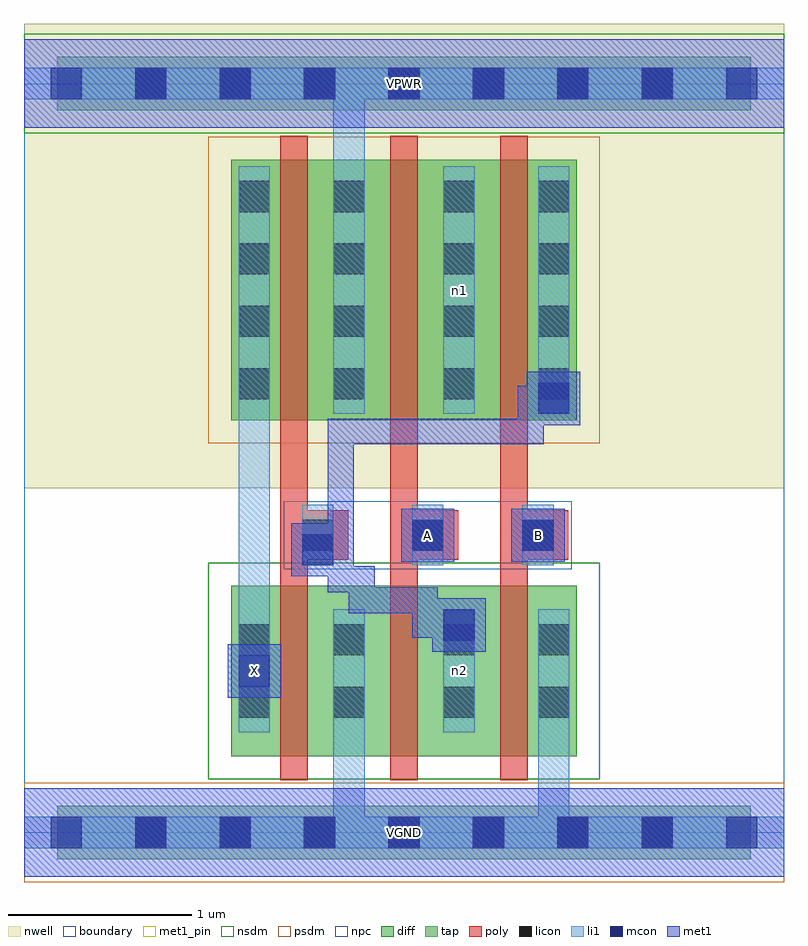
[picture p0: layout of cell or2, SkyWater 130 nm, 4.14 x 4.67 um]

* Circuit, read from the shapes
.subckt or2 A B VGND VPWR X n1 n2
XM1 VGND n2 X VGND sky130_fd_pr__nfet_01v8 w=0.93 l=0.15
XM2 n2 A VGND VGND sky130_fd_pr__nfet_01v8 w=0.93 l=0.15
XM3 VGND B n2 VGND sky130_fd_pr__nfet_01v8 w=0.93 l=0.15
XM4 VPWR n2 X VPWR sky130_fd_pr__pfet_01v8 w=1.42 l=0.15
XM5 n1 A VPWR VPWR sky130_fd_pr__pfet_01v8 w=1.42 l=0.15
XM6 n2 B n1 VPWR sky130_fd_pr__pfet_01v8 w=1.42 l=0.15
.ends

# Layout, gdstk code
import gdstk
lib = gdstk.Library(unit=1e-6, precision=1e-09)
def R(c, l, rs):  # rectangles x0, y0, x1, y1
    for r in rs: c.add(gdstk.rectangle(r[:2], r[2:], *l))
def A(c, l, x, y, w, h, nx, ny, dx, dy):  # array of equal rectangles
    R(c, l, [(x+i*dx, y+j*dy, x+i*dx+w, y+j*dy+h) for i in range(nx) for j in range(ny)])
nwell = (64, 20)
diff = (65, 20)
tap = (65, 44)
poly = (66, 20)
licon = (66, 44)
li1 = (67, 20)
mcon = (67, 44)
met1_pin = (68, 16)
met1 = (68, 20)
nsdm = (93, 44)
psdm = (94, 20)
npc = (95, 20)
boundary = (235, 4)

or2 = lib.new_cell('or2')
R(or2, nwell, [(0,1.875,4.14,4.405)])
R(or2, diff, [(1.13,0.415,3.01,1.345), (1.13,2.245,3.01,3.665)])
R(or2, tap, [(0.18,-0.145,3.96,0.145), (0.18,3.935,3.96,4.225)])
A(or2, poly, 1.395, 0.285, 0.15, 3.51, 3, 1, 0.6, 0)
A(or2, poly, 1.435, 1.485, 0.33, 0.27, 3, 1, 0.6, 0)
A(or2, licon, 0.605, -0.085, 0.17, 0.17, 7, 2, 0.46, 4.08)
A(or2, licon, 1.515, 1.535, 0.17, 0.17, 3, 1, 0.6, 0)
A(or2, licon, 1.17, 2.36, 0.17, 0.17, 1, 4, 0, 0.34)
A(or2, licon, 1.685, 2.36, 0.17, 0.17, 1, 4, 0, 0.34)
A(or2, licon, 2.285, 2.36, 0.17, 0.17, 1, 4, 0, 0.34)
A(or2, licon, 2.8, 2.36, 0.17, 0.17, 1, 4, 0, 0.34)
R(or2, licon, [(1.17,0.625,1.34,0.795), (1.685,0.625,1.855,0.795), (2.285,0.625,2.455,0.795), (2.8,0.625,2.97,0.795), (1.17,0.965,1.34,1.135), (1.685,0.965,1.855,1.135), (2.285,0.965,2.455,1.135), (2.8,0.965,2.97,1.135)])
A(or2, li1, 1.515, 1.455, 0.17, 0.33, 3, 1, 0.6, 0)
R(or2, li1, [(0,-0.085,4.14,0.085), (1.685,-0.085,1.855,1.215), (2.8,-0.085,2.97,1.215), (1.17,0.545,1.34,1.215), (1.17,0.545,1.34,3.63), (1.685,0.545,1.855,1.215), (2.285,0.545,2.455,1.215), (2.8,0.545,2.97,1.215), (1.17,2.28,1.34,3.63), (1.685,2.28,1.855,3.63), (1.685,2.28,1.855,4.165), (2.285,2.28,2.455,3.63), (2.8,2.28,2.97,3.63), (0,3.995,4.14,4.165)])
A(or2, mcon, 0.145, -0.085, 0.17, 0.17, 9, 2, 0.46, 4.08)
R(or2, mcon, [(1.17,0.795,1.34,0.965), (2.285,1.045,2.455,1.215), (1.515,1.455,1.685,1.625), (2.115,1.535,2.285,1.705), (2.715,1.535,2.885,1.705), (2.8,2.28,2.97,2.45)])
R(or2, met1_pin, [(0,-0.24,4.14,0.24), (1.11,0.735,1.4,1.025), (2.055,1.475,2.345,1.765), (2.655,1.475,2.945,1.765), (0,3.84,4.14,4.32)])
R(or2, met1, [(0,-0.24,4.14,0.24), (1.11,0.735,1.4,1.025), (2.225,0.985,2.515,1.275), (2.115,1.06,2.44,1.2), (2.115,1.06,2.255,1.335), (1.77,1.195,1.91,1.45), (1.77,1.195,2.255,1.335), (1.655,1.31,1.795,1.61), (1.655,1.31,1.91,1.45), (1.655,1.31,1.795,2.255), (1.455,1.395,1.745,1.685), (1.53,1.47,1.795,1.61), (2.055,1.475,2.345,1.765), (2.655,1.475,2.945,1.765), (1.655,2.115,2.83,2.255), (2.69,2.115,2.83,2.435), (2.74,2.22,3.03,2.51), (2.69,2.295,2.955,2.435), (0,3.84,4.14,4.32)])
R(or2, nsdm, [(1.005,0.29,3.135,1.47), (0,3.81,4.14,4.35)])
R(or2, psdm, [(0,-0.27,4.14,0.27), (1.005,2.12,3.135,3.79)])
R(or2, npc, [(1.415,1.435,2.985,1.805)])
R(or2, boundary, [(0,0,4.14,4.08)])
or2.add(gdstk.Label('n2', (2.37,0.88), layer=67, texttype=5))
or2.add(gdstk.Label('n1', (2.37,2.955), layer=67, texttype=5))
or2.add(gdstk.Label('A', (2.2,1.62), layer=68, texttype=5))
or2.add(gdstk.Label('B', (2.8,1.62), layer=68, texttype=5))
or2.add(gdstk.Label('X', (1.255,0.88), layer=68, texttype=5))
or2.add(gdstk.Label('VPWR', (2.07,4.08), layer=68, texttype=5))
or2.add(gdstk.Label('VGND', (2.07,0), layer=68, texttype=5))
or2.add(gdstk.Label('A', (2.2,1.62), layer=68, texttype=16))
or2.add(gdstk.Label('B', (2.8,1.62), layer=68, texttype=16))
or2.add(gdstk.Label('X', (1.255,0.88), layer=68, texttype=16))
or2.add(gdstk.Label('VPWR', (2.07,4.08), layer=68, texttype=16))
or2.add(gdstk.Label('VGND', (2.07,0), layer=68, texttype=16))

lib.write_gds('or2.gds')
